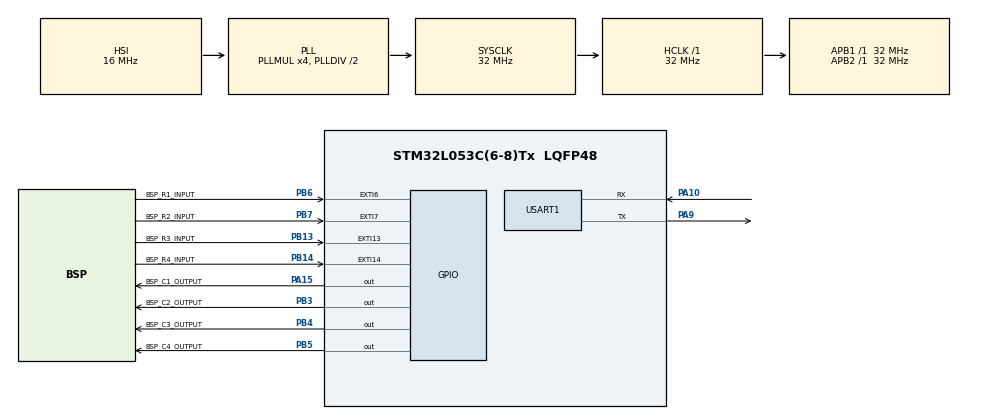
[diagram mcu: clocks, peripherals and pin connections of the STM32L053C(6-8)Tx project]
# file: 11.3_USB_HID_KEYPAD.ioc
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Mcu.Family=STM32L0
Mcu.Name=STM32L053C(6-8)Tx
Mcu.Package=LQFP48
NVIC.EXTI4_15_IRQn=true\:0\:0\:false\:false\:true\:true\:true\:true
PA10.Mode=Asynchronous
PA10.Signal=USART1_RX
PA13.Mode=Serial_Wire
PA13.Signal=SYS_SWDIO
PA14.Mode=Serial_Wire
PA14.Signal=SYS_SWCLK
PA15.GPIO_Label=BSP_C1_OUTPUT
PA15.Signal=GPIO_Output
PA9.Mode=Asynchronous
PA9.Signal=USART1_TX
PB13.GPIO_Label=BSP_R3_INPUT
PB13.Signal=GPXTI13
PB14.GPIO_Label=BSP_R4_INPUT
PB14.Signal=GPXTI14
PB3.GPIO_Label=BSP_C2_OUTPUT
PB3.Signal=GPIO_Output
PB4.GPIO_Label=BSP_C3_OUTPUT
PB4.Signal=GPIO_Output
PB5.GPIO_Label=BSP_C4_OUTPUT
PB5.Signal=GPIO_Output
PB6.GPIO_Label=BSP_R1_INPUT
PB6.Signal=GPXTI6
PB7.GPIO_Label=BSP_R2_INPUT
PB7.Signal=GPXTI7
ProjectManager.HeapSize=0x200
ProjectManager.StackSize=0x400
ProjectManager.TargetToolchain=STM32CubeIDE
RCC.AHBFreq_Value=32000000
RCC.APB1Freq_Value=32000000
RCC.APB1TimFreq_Value=32000000
RCC.APB2Freq_Value=32000000
RCC.APB2TimFreq_Value=32000000
RCC.HCLKFreq_Value=32000000
RCC.HSE_VALUE=8000000
RCC.HSI16_VALUE=16000000
RCC.HSI48MClockSelection=RCC_USBCLKSOURCE_HSI48
RCC.HSI48_VALUE=48000000
RCC.HSI_VALUE=16000000
RCC.LSE_VALUE=32768
RCC.MSI_VALUE=2097000
RCC.PLLMUL=RCC_PLLMUL_4
RCC.RTCClockSelectionVirtual=RCC_RTCCLKSOURCE_LSE
RCC.SYSCLKFreq_VALUE=32000000
RCC.SYSCLKSource=RCC_SYSCLKSOURCE_PLLCLK
RCC.VCOOutputFreq_Value=64000000
USART1.VirtualMode-Asynchronous=VM_ASYNC
board=STM32L0538-DISCO

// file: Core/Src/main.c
/* USER CODE BEGIN Header */
/**
  ******************************************************************************
  * @file           : main.c
  * @brief          : Main program body
  ******************************************************************************
  * @attention
  *
  * Copyright (c) 2024 STMicroelectronics.
  * All rights reserved.
  *
  * This software is licensed under terms that can be found in the LICENSE file
  * in the root directory of this software component.
  * If no LICENSE file comes with this software, it is provided AS-IS.
  *
  ******************************************************************************
  */
/* USER CODE END Header */
#include "main.h"

/* USER CODE BEGIN Includes */
#include <stdio.h>
#include <string.h>
/* USER CODE END Includes */

UART_HandleTypeDef huart1;

/* USER CODE BEGIN PV */
GPIO_InitTypeDef GPIO_InitStructPrivate = {0};
uint32_t previousMillis = 0;
uint32_t currentMillis = 0;
uint8_t keyPressed = 0;
/* USER CODE END PV */

void SystemClock_Config(void);
static void MX_GPIO_Init(void);
static void MX_USART1_UART_Init(void);

int main(void)
{

  /* MCU Configuration--------------------------------------------------------*/

  /* Reset of all peripherals, Initializes the Flash interface and the Systick. */
  HAL_Init();

  /* Configure the system clock */
  SystemClock_Config();

  /* Initialize all configured peripherals */
  MX_GPIO_Init();
  MX_USART1_UART_Init();
  /* USER CODE BEGIN 2 */
  HAL_GPIO_WritePin(GPIOA, GPIO_PIN_15, 1);
  HAL_GPIO_WritePin(GPIOB, GPIO_PIN_3, 1);
  HAL_GPIO_WritePin(GPIOB, GPIO_PIN_4, 1);
  HAL_GPIO_WritePin(GPIOB, GPIO_PIN_5, 1);
  /* USER CODE END 2 */

  /* Infinite loop */
  while (1)
  {

  }
}

void SystemClock_Config(void)
{
  RCC_OscInitTypeDef RCC_OscInitStruct = {0};
  RCC_ClkInitTypeDef RCC_ClkInitStruct = {0};
  RCC_PeriphCLKInitTypeDef PeriphClkInit = {0};

  /** Configure the main internal regulator output voltage
  */
  __HAL_PWR_VOLTAGESCALING_CONFIG(PWR_REGULATOR_VOLTAGE_SCALE1);

  /** Initializes the RCC Oscillators according to the specified parameters
  * in the RCC_OscInitTypeDef structure.
  */
  RCC_OscInitStruct.OscillatorType = RCC_OSCILLATORTYPE_HSI;
  RCC_OscInitStruct.HSIState = RCC_HSI_ON;
  RCC_OscInitStruct.HSICalibrationValue = RCC_HSICALIBRATION_DEFAULT;
  RCC_OscInitStruct.PLL.PLLState = RCC_PLL_ON;
  RCC_OscInitStruct.PLL.PLLSource = RCC_PLLSOURCE_HSI;
  RCC_OscInitStruct.PLL.PLLMUL = RCC_PLLMUL_4;
  RCC_OscInitStruct.PLL.PLLDIV = RCC_PLLDIV_2;
  if (HAL_RCC_OscConfig(&RCC_OscInitStruct) != HAL_OK)
  {
    Error_Handler();
  }

  /** Initializes the CPU, AHB and APB buses clocks
  */
  RCC_ClkInitStruct.ClockType = RCC_CLOCKTYPE_HCLK|RCC_CLOCKTYPE_SYSCLK
                              |RCC_CLOCKTYPE_PCLK1|RCC_CLOCKTYPE_PCLK2;
  RCC_ClkInitStruct.SYSCLKSource = RCC_SYSCLKSOURCE_PLLCLK;
  RCC_ClkInitStruct.AHBCLKDivider = RCC_SYSCLK_DIV1;
  RCC_ClkInitStruct.APB1CLKDivider = RCC_HCLK_DIV1;
  RCC_ClkInitStruct.APB2CLKDivider = RCC_HCLK_DIV1;

  if (HAL_RCC_ClockConfig(&RCC_ClkInitStruct, FLASH_LATENCY_1) != HAL_OK)
  {
    Error_Handler();
  }
  PeriphClkInit.PeriphClockSelection = RCC_PERIPHCLK_USART1;
  PeriphClkInit.Usart1ClockSelection = RCC_USART1CLKSOURCE_PCLK2;
  if (HAL_RCCEx_PeriphCLKConfig(&PeriphClkInit) != HAL_OK)
  {
    Error_Handler();
  }
}

static void MX_USART1_UART_Init(void)
{

  huart1.Instance = USART1;
  huart1.Init.BaudRate = 115200;
  huart1.Init.WordLength = UART_WORDLENGTH_8B;
  huart1.Init.StopBits = UART_STOPBITS_1;
  huart1.Init.Parity = UART_PARITY_NONE;
  huart1.Init.Mode = UART_MODE_TX_RX;
  huart1.Init.HwFlowCtl = UART_HWCONTROL_NONE;
  huart1.Init.OverSampling = UART_OVERSAMPLING_16;
  huart1.Init.OneBitSampling = UART_ONE_BIT_SAMPLE_DISABLE;
  huart1.AdvancedInit.AdvFeatureInit = UART_ADVFEATURE_NO_INIT;
  if (HAL_UART_Init(&huart1) != HAL_OK)
  {
    Error_Handler();
  }

}

static void MX_GPIO_Init(void)
{
  GPIO_InitTypeDef GPIO_InitStruct = {0};

  /* GPIO Ports Clock Enable */
  __HAL_RCC_GPIOB_CLK_ENABLE();
  __HAL_RCC_GPIOA_CLK_ENABLE();

  /*Configure GPIO pin Output Level */
  HAL_GPIO_WritePin(BSP_C1_OUTPUT_GPIO_Port, BSP_C1_OUTPUT_Pin, GPIO_PIN_RESET);

  /*Configure GPIO pin Output Level */
  HAL_GPIO_WritePin(GPIOB, BSP_C2_OUTPUT_Pin|BSP_C3_OUTPUT_Pin|BSP_C4_OUTPUT_Pin, GPIO_PIN_RESET);

  /*Configure GPIO pins : BSP_R3_INPUT_Pin BSP_R4_INPUT_Pin BSP_R1_INPUT_Pin BSP_R2_INPUT_Pin */
  GPIO_InitStruct.Pin = BSP_R3_INPUT_Pin|BSP_R4_INPUT_Pin|BSP_R1_INPUT_Pin|BSP_R2_INPUT_Pin;
  GPIO_InitStruct.Mode = GPIO_MODE_IT_RISING;
  GPIO_InitStruct.Pull = GPIO_NOPULL;
  HAL_GPIO_Init(GPIOB, &GPIO_InitStruct);

  /*Configure GPIO pin : BSP_C1_OUTPUT_Pin */
  GPIO_InitStruct.Pin = BSP_C1_OUTPUT_Pin;
  GPIO_InitStruct.Mode = GPIO_MODE_OUTPUT_PP;
  GPIO_InitStruct.Pull = GPIO_NOPULL;
  GPIO_InitStruct.Speed = GPIO_SPEED_FREQ_LOW;
  HAL_GPIO_Init(BSP_C1_OUTPUT_GPIO_Port, &GPIO_InitStruct);

  /*Configure GPIO pins : BSP_C2_OUTPUT_Pin BSP_C3_OUTPUT_Pin BSP_C4_OUTPUT_Pin */
  GPIO_InitStruct.Pin = BSP_C2_OUTPUT_Pin|BSP_C3_OUTPUT_Pin|BSP_C4_OUTPUT_Pin;
  GPIO_InitStruct.Mode = GPIO_MODE_OUTPUT_PP;
  GPIO_InitStruct.Pull = GPIO_NOPULL;
  GPIO_InitStruct.Speed = GPIO_SPEED_FREQ_LOW;
  HAL_GPIO_Init(GPIOB, &GPIO_InitStruct);

  /* EXTI interrupt init*/
  HAL_NVIC_SetPriority(EXTI4_15_IRQn, 0, 0);
  HAL_NVIC_EnableIRQ(EXTI4_15_IRQn);

}

/* USER CODE BEGIN 4 */
void HAL_GPIO_EXTI_Callback(uint16_t GPIO_Pin)
{
  currentMillis = HAL_GetTick();
  if (currentMillis - previousMillis > 1000) {
    /*Configure GPIO pins : PB6 PB7 PB8 PB9 to GPIO_INPUT*/
    GPIO_InitStructPrivate.Pin = GPIO_PIN_6|GPIO_PIN_7|GPIO_PIN_13|GPIO_PIN_14;
    GPIO_InitStructPrivate.Mode = GPIO_MODE_INPUT;
    GPIO_InitStructPrivate.Pull = GPIO_NOPULL;
    GPIO_InitStructPrivate.Speed = GPIO_SPEED_FREQ_LOW;
    HAL_GPIO_Init(GPIOB, &GPIO_InitStructPrivate);

    HAL_GPIO_WritePin(GPIOA, GPIO_PIN_15, 1);
    HAL_GPIO_WritePin(GPIOB, GPIO_PIN_3, 0);
    HAL_GPIO_WritePin(GPIOB, GPIO_PIN_4, 0);
    HAL_GPIO_WritePin(GPIOB, GPIO_PIN_5, 0);
    if(GPIO_Pin == GPIO_PIN_6 && HAL_GPIO_ReadPin(GPIOB, GPIO_PIN_6))
    {
      keyPressed = 68; //ASCII value of D
      printf("Key = %c\r\n", (char)keyPressed);
    }
    else if(GPIO_Pin == GPIO_PIN_7 && HAL_GPIO_ReadPin(GPIOB, GPIO_PIN_7))
    {
      keyPressed = 67; //ASCII value of C
      printf("Key = %c\r\n", (char)keyPressed);

    }
    else if(GPIO_Pin == GPIO_PIN_13 && HAL_GPIO_ReadPin(GPIOB, GPIO_PIN_13))
    {
      keyPressed = 66; //ASCII value of B
      printf("Key = %c\r\n", (char)keyPressed);

    }
    else if(GPIO_Pin == GPIO_PIN_14 && HAL_GPIO_ReadPin(GPIOB, GPIO_PIN_14))
    {
      keyPressed = 65; //ASCII value of A
      printf("Key = %c\r\n", (char)keyPressed);

    }

    HAL_GPIO_WritePin(GPIOA, GPIO_PIN_15, 0);
    HAL_GPIO_WritePin(GPIOB, GPIO_PIN_3, 1);
    HAL_GPIO_WritePin(GPIOB, GPIO_PIN_4, 0);
    HAL_GPIO_WritePin(GPIOB, GPIO_PIN_5, 0);
    if(GPIO_Pin == GPIO_PIN_6 && HAL_GPIO_ReadPin(GPIOB, GPIO_PIN_6))
    {
      keyPressed = 35; //ASCII value of #
      printf("Key = %c\r\n", (char)keyPressed);

    }
    else if(GPIO_Pin == GPIO_PIN_7 && HAL_GPIO_ReadPin(GPIOB, GPIO_PIN_7))
    {
      keyPressed = 57; //ASCII value of 9
      printf("Key = %c\r\n", (char)keyPressed);

    }
    else if(GPIO_Pin == GPIO_PIN_13 && HAL_GPIO_ReadPin(GPIOB, GPIO_PIN_13))
    {
      keyPressed = 54; //ASCII value of 6
      printf("Key = %c\r\n", (char)keyPressed);

    }
    else if(GPIO_Pin == GPIO_PIN_14 && HAL_GPIO_ReadPin(GPIOB, GPIO_PIN_14))
    {
      keyPressed = 51; //ASCII value of 3
      printf("Key = %c\r\n", (char)keyPressed);

    }

    HAL_GPIO_WritePin(GPIOA, GPIO_PIN_15, 0);
    HAL_GPIO_WritePin(GPIOB, GPIO_PIN_3, 0);
    HAL_GPIO_WritePin(GPIOB, GPIO_PIN_4, 1);
    HAL_GPIO_WritePin(GPIOB, GPIO_PIN_5, 0);
    if(GPIO_Pin == GPIO_PIN_6 && HAL_GPIO_ReadPin(GPIOB, GPIO_PIN_6))
    {
      keyPressed = 48; //ASCII value of 0
      printf("Key = %c\r\n", (char)keyPressed);

    }
    else if(GPIO_Pin == GPIO_PIN_7 && HAL_GPIO_ReadPin(GPIOB, GPIO_PIN_7))
    {
      keyPressed = 56; //ASCII value of 8
      printf("Key = %c\r\n", (char)keyPressed);

    }
    else if(GPIO_Pin == GPIO_PIN_13 && HAL_GPIO_ReadPin(GPIOB, GPIO_PIN_13))
    {
      keyPressed = 53; //ASCII value of 5
      printf("Key = %c\r\n", (char)keyPressed);

    }
    else if(GPIO_Pin == GPIO_PIN_14 && HAL_GPIO_ReadPin(GPIOB, GPIO_PIN_14))
    {
      keyPressed = 50; //ASCII value of 2
      printf("Key = %c\r\n", (char)keyPressed);

    }

    HAL_GPIO_WritePin(GPIOA, GPIO_PIN_15, 0);
    HAL_GPIO_WritePin(GPIOB, GPIO_PIN_3, 0);
    HAL_GPIO_WritePin(GPIOB, GPIO_PIN_4, 0);
    HAL_GPIO_WritePin(GPIOB, GPIO_PIN_5, 1);
    if(GPIO_Pin == GPIO_PIN_6 && HAL_GPIO_ReadPin(GPIOB, GPIO_PIN_6))
    {
      keyPressed = 42; //ASCII value of *
      printf("Key = %c\r\n", (char)keyPressed);

    }
    else if(GPIO_Pin == GPIO_PIN_7 && HAL_GPIO_ReadPin(GPIOB, GPIO_PIN_7))
    {
      keyPressed = 55; //ASCII value of 7
      printf("Key = %c\r\n", (char)keyPressed);

    }
    else if(GPIO_Pin == GPIO_PIN_13 && HAL_GPIO_ReadPin(GPIOB, GPIO_PIN_13))
    {
      keyPressed = 52; //ASCII value of 4
      printf("Key = %c\r\n", (char)keyPressed);

    }
    else if(GPIO_Pin == GPIO_PIN_14 && HAL_GPIO_ReadPin(GPIOB, GPIO_PIN_14))
    {
      keyPressed = 49; //ASCII value of 1
      printf("Key = %c\r\n", (char)keyPressed);

    }

    HAL_GPIO_WritePin(GPIOA, GPIO_PIN_15, 1);
    HAL_GPIO_WritePin(GPIOB, GPIO_PIN_3, 1);
    HAL_GPIO_WritePin(GPIOB, GPIO_PIN_4, 1);
    HAL_GPIO_WritePin(GPIOB, GPIO_PIN_5, 1);
    /*Configure GPIO pins : PB6 PB7 PB8 PB9 back to EXTI*/
    GPIO_InitStructPrivate.Mode = GPIO_MODE_IT_RISING;
    GPIO_InitStructPrivate.Pull = GPIO_PULLDOWN;
    HAL_GPIO_Init(GPIOB, &GPIO_InitStructPrivate);
    previousMillis = currentMillis;
  }
}
/* USER CODE END 4 */

void Error_Handler(void)
{
  __disable_irq();
  while (1)
  {
  }
}
